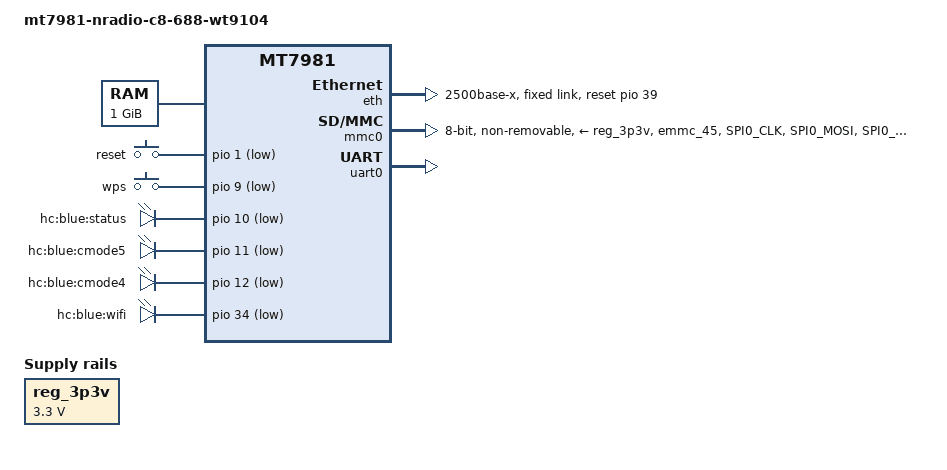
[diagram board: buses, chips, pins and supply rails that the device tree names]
// SPDX-License-Identifier: GPL-2.0-or-later OR MIT
/*
 * NRadio C8-688 (HC-WT9104) - MediaTek MT7981B, eMMC
 * U-Boot 2025 board device tree (bl-mt798x-dhcpd style)
 */

/dts-v1/;
#include "mt7981.dtsi"
#include <dt-bindings/gpio/gpio.h>
#include <dt-bindings/input/linux-event-codes.h>

/ {
	#address-cells = <1>;
	#size-cells = <1>;
	model = "mt7981-nradio-c8-688-wt9104";
	compatible = "mediatek,mt7981", "mediatek,mt7981-rfb";

	chosen {
		stdout-path = &uart0;
		tick-timer = &timer0;
	};

	config {
		bootcmd = "mtkboardboot";
		blink_led = "hc:blue:status";
		system_led = "hc:blue:status";
	};

	memory@40000000 {
		device_type = "memory";
		reg = <0x40000000 0x40000000>;
	};

	gpio-keys {
		compatible = "gpio-keys";

		button-reset {
			label = "reset";
			linux,code = <KEY_RESTART>;
			gpios = <&pio 1 GPIO_ACTIVE_LOW>;
		};

		button-wps {
			label = "wps";
			linux,code = <KEY_WPS_BUTTON>;
			gpios = <&pio 9 GPIO_ACTIVE_LOW>;
		};
	};

	leds {
		compatible = "gpio-leds";

		led-0 {
			label = "hc:blue:status";
			gpios = <&pio 10 GPIO_ACTIVE_LOW>;
		};

		led-1 {
			label = "hc:blue:cmode5";
			gpios = <&pio 11 GPIO_ACTIVE_LOW>;
		};

		led-2 {
			label = "hc:blue:cmode4";
			gpios = <&pio 12 GPIO_ACTIVE_LOW>;
		};

		led-3 {
			label = "hc:blue:wifi";
			gpios = <&pio 34 GPIO_ACTIVE_LOW>;
		};
	};

	reg_3p3v: regulator-3p3v {
		compatible = "regulator-fixed";
		regulator-name = "fixed-3.3V";
		regulator-min-microvolt = <3300000>;
		regulator-max-microvolt = <3300000>;
		regulator-boot-on;
		regulator-always-on;
	};

	bl2_verify {
		bl2_compatible = "emmc";
	};
};

&eth {
	status = "okay";
	mediatek,gmac-id = <0>;
	phy-mode = "2500base-x";
	mediatek,switch = "auto";
	reset-gpios = <&pio 39 GPIO_ACTIVE_HIGH>;

	fixed-link {
		speed = <2500>;
		full-duplex;
	};
};

&mmc0 {
	pinctrl-names = "default";
	pinctrl-0 = <&mmc0_pins_default>;
	bus-width = <8>;
	max-frequency = <26000000>;
	cap-mmc-hw-reset;
	vmmc-supply = <&reg_3p3v>;
	non-removable;
	status = "okay";
};

&pio {
	mmc0_pins_default: mmc0default {
		mux {
			function = "flash";
			groups = "emmc_45";
		};
		conf-cmd-dat {
			pins = "SPI0_CLK", "SPI0_MOSI", "SPI0_MISO",
				"SPI0_CS",  "SPI0_HOLD", "SPI0_WP",
				"SPI1_CLK", "SPI1_MOSI", "SPI1_MISO";
			input-enable;
			drive-strength = <MTK_DRIVE_4mA>;
			bias-pull-up = <MTK_PUPD_SET_R1R0_01>;
		};
		conf-clk {
			pins = "SPI1_CS";
			drive-strength = <MTK_DRIVE_6mA>;
			bias-pull-down = <MTK_PUPD_SET_R1R0_10>;
		};
		conf-rst {
			pins = "PWM0";
			drive-strength = <MTK_DRIVE_4mA>;
			bias-pull-up = <MTK_PUPD_SET_R1R0_01>;
		};
	};
};

&uart0 {
	status = "okay";
};

&watchdog {
	status = "disabled";
};
